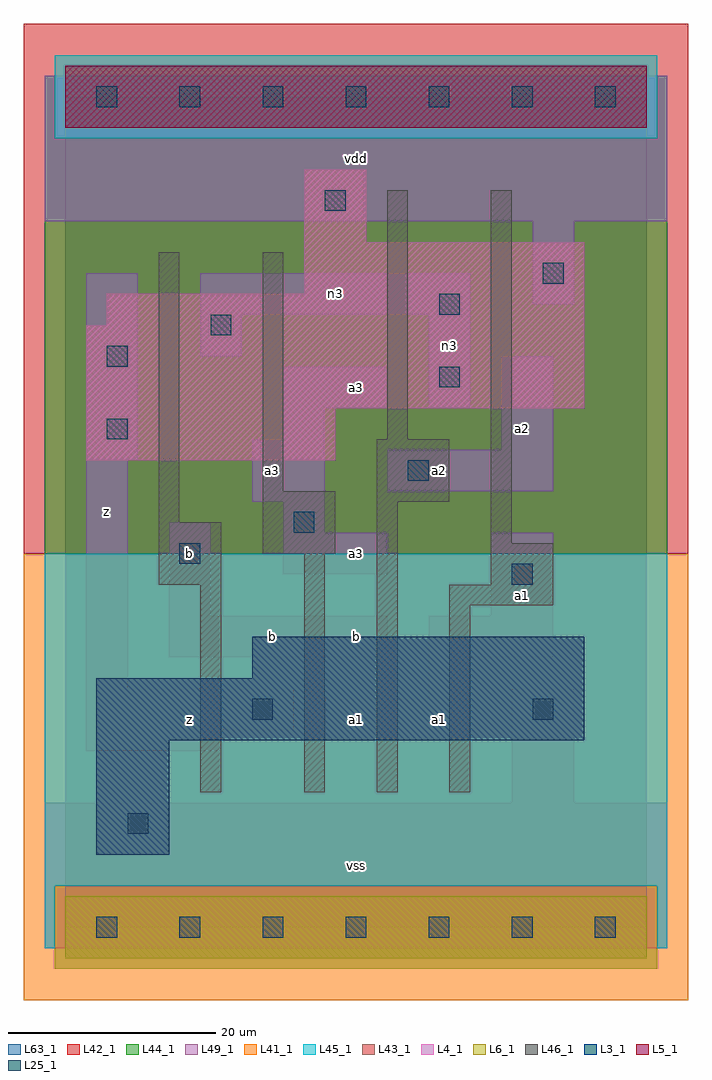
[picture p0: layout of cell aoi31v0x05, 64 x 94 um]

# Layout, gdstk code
import gdstk
lib = gdstk.Library(unit=1e-6, precision=1e-09)
def R(c, l, rs):  # rectangles x0, y0, x1, y1
    for r in rs: c.add(gdstk.rectangle(r[:2], r[2:], *l))
def A(c, l, x, y, w, h, nx, ny, dx, dy):  # array of equal rectangles
    R(c, l, [(x+i*dx, y+j*dy, x+i*dx+w, y+j*dy+h) for i in range(nx) for j in range(ny)])
L3_1 = (3, 1)
L4_1 = (4, 1)
L5_1 = (5, 1)
L6_1 = (6, 1)
L25_1 = (25, 1)
L41_1 = (41, 1)
L42_1 = (42, 1)
L43_1 = (43, 1)
L44_1 = (44, 1)
L45_1 = (45, 1)
L46_1 = (46, 1)
L49_1 = (49, 1)
L63_1 = (63, 1)

aoi31v0x05 = lib.new_cell('aoi31v0x05')
R(aoi31v0x05, L3_1, [(3,7,10,18), (3,18,50,24), (18,24,50,28)])
R(aoi31v0x05, L4_1, [(2,45,26,50), (2,50,50,58), (4,58,50,61), (23,61,50,66), (23,66,29,73)])
R(aoi31v0x05, L5_1, [(0,77,56,83)])
R(aoi31v0x05, L6_1, [(0,-3,56,3), (0,-3,56,3)])
A(aoi31v0x05, L25_1, 3, -1, 2, 2, 7, 2, 8, 80)
R(aoi31v0x05, L25_1, [(6,9,8,11), (18,20,20,22), (45,20,47,22), (43,33,45,35), (11,35,13,37), (22,38,24,40), (33,43,35,45), (4,47,6,49), (36,52,38,54), (4,54,6,56), (14,57,16,59), (36,59,38,61), (46,62,48,64), (25,69,27,71)])
R(aoi31v0x05, L41_1, [(-4,-7,60,36)])
R(aoi31v0x05, L42_1, [(-4,36,60,87)])
R(aoi31v0x05, L43_1, [(0,-3,56,3), (3,7,10,18), (3,18,50,24), (18,24,50,28), (2,45,26,50), (2,50,50,58), (4,58,50,61), (23,61,50,66), (23,66,29,73), (0,77,56,83)])
R(aoi31v0x05, L44_1, [(-1,-4,57,4), (-2,36,58,76), (-2,76,-1,82), (57,76,58,82)])
R(aoi31v0x05, L45_1, [(-2,-2,-1,4), (57,-2,58,4), (-2,4,58,36), (-1,76,57,84)])
R(aoi31v0x05, L46_1, [(13,13,15,33), (23,13,25,36), (30,13,32,41), (37,13,39,31), (37,31,47,33), (9,33,15,39), (41,33,47,37), (19,36,26,42), (41,37,43,71), (9,39,11,65), (30,41,37,47), (19,42,21,65), (31,47,33,71)])
R(aoi31v0x05, L49_1, [(-2,-2,58,12), (43,12,49,23), (2,17,15,19), (25,18,39,22), (2,19,22,23), (35,22,39,26), (2,23,6,45), (10,26,31,30), (35,26,47,30), (10,30,14,39), (41,30,47,38), (21,34,31,38), (21,38,25,41), (18,41,25,47), (31,42,47,46), (2,45,7,63), (42,46,47,55), (21,47,25,50), (21,50,31,54), (35,50,39,59), (13,55,17,59), (13,59,39,63), (45,60,49,68), (-2,68,58,82)])
R(aoi31v0x05, L63_1, [(0,0,56,80)])
aoi31v0x05.add(gdstk.Label('z', (4,40), layer=49, texttype=1))
aoi31v0x05.add(gdstk.Label('z', (12,20), layer=49, texttype=1))
aoi31v0x05.add(gdstk.Label('b', (12,36), layer=49, texttype=1))
aoi31v0x05.add(gdstk.Label('vss', (28,6), layer=49, texttype=1))
aoi31v0x05.add(gdstk.Label('b', (20,28), layer=49, texttype=1))
aoi31v0x05.add(gdstk.Label('a1', (28,20), layer=49, texttype=1))
aoi31v0x05.add(gdstk.Label('b', (28,28), layer=49, texttype=1))
aoi31v0x05.add(gdstk.Label('a3', (20,44), layer=49, texttype=1))
aoi31v0x05.add(gdstk.Label('a3', (28,36), layer=49, texttype=1))
aoi31v0x05.add(gdstk.Label('a3', (28,52), layer=49, texttype=1))
aoi31v0x05.add(gdstk.Label('vdd', (28,74), layer=49, texttype=1))
aoi31v0x05.add(gdstk.Label('a1', (36,20), layer=49, texttype=1))
aoi31v0x05.add(gdstk.Label('a1', (44,32), layer=49, texttype=1))
aoi31v0x05.add(gdstk.Label('a2', (36,44), layer=49, texttype=1))
aoi31v0x05.add(gdstk.Label('a2', (44,48), layer=49, texttype=1))
aoi31v0x05.add(gdstk.Label('n3', (37,56), layer=49, texttype=1))
aoi31v0x05.add(gdstk.Label('n3', (26,61), layer=49, texttype=1))

lib.write_gds('aoi31v0x05.gds')
